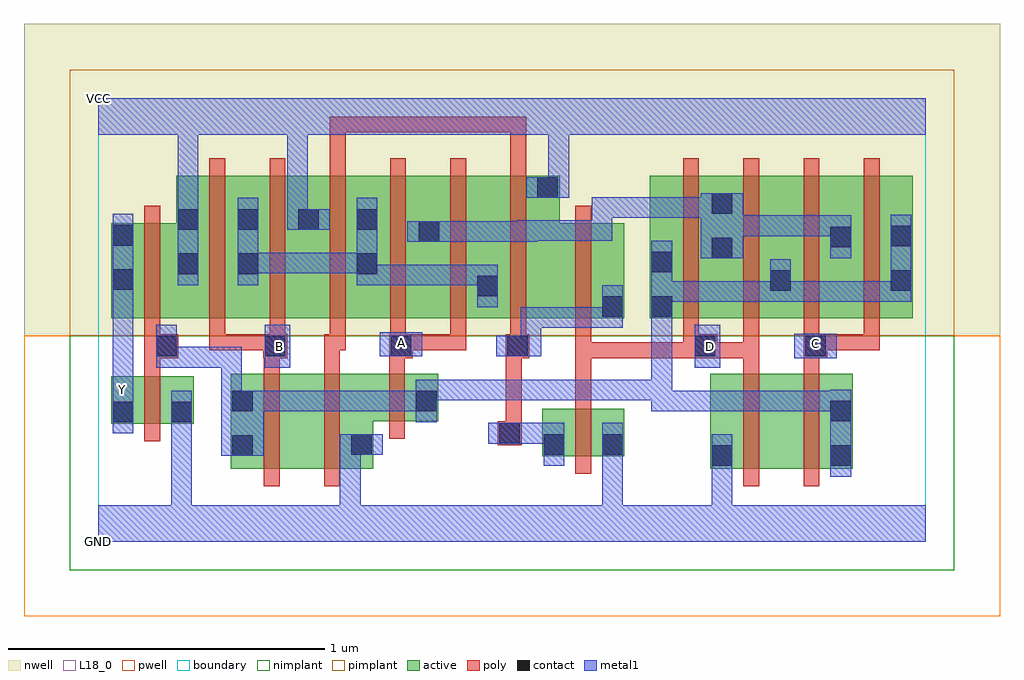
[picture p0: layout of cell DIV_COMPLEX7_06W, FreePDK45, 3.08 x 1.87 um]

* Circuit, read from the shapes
.subckt DIV_COMPLEX7_06W A B C D GND VCC Y
M1 GND n1 Y VSUBS nfet w=0.15u l=0.05u
M2 n2 B n1 VSUBS nfet w=0.3u l=0.05u
M3 GND n3 n2 VSUBS nfet w=0.3u l=0.05u
M4 n1 A GND VSUBS nfet w=0.15u l=0.05u
M5 GND D n3 VSUBS nfet w=0.15u l=0.05u
M6 n4 D GND VSUBS nfet w=0.3u l=0.05u
M7 n1 C n4 VSUBS nfet w=0.3u l=0.05u
M8 VCC n1 Y n5 pfet w=0.3u l=0.05u
M9 n6 B VCC n5 pfet w=0.45u l=0.05u m=2
M10 n6 n3 VCC n5 pfet w=0.45u l=0.05u m=2
M11 n7 A n6 n5 pfet w=0.45u l=0.05u m=2
M12 n3 D VCC n5 pfet w=0.3u l=0.05u
M13 n7 D n1 n5 pfet w=0.45u l=0.05u m=2
M14 n7 C n1 n5 pfet w=0.45u l=0.05u m=2
.ends

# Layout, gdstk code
import gdstk
lib = gdstk.Library(unit=1e-6, precision=1e-09)
def R(c, l, rs):  # rectangles x0, y0, x1, y1
    for r in rs: c.add(gdstk.rectangle(r[:2], r[2:], *l))
def A(c, l, x, y, w, h, nx, ny, dx, dy):  # array of equal rectangles
    R(c, l, [(x+i*dx, y+j*dy, x+i*dx+w, y+j*dy+h) for i in range(nx) for j in range(ny)])
active = (1, 0)
pwell = (2, 0)
nwell = (3, 0)
nimplant = (4, 0)
pimplant = (5, 0)
poly = (9, 0)
contact = (10, 0)
metal1 = (11, 0)
L18_0 = (18, 0)
boundary = (235, 0)

div_complex7_06w = lib.new_cell('DIV_COMPLEX7_06W')
R(div_complex7_06w, active, [(0.417,0.23,0.642,0.53), (0.417,0.23,0.492,0.53), (0.642,0.23,0.867,0.53), (1.93,0.23,2.155,0.53), (2.155,0.23,2.38,0.53), (1.93,0.235,2.005,0.53), (2.305,0.235,2.38,0.53), (0.792,0.27,0.867,0.38), (1.4,0.27,1.475,0.42), (1.4,0.27,1.66,0.42), (1.585,0.27,1.66,0.42), (0.04,0.372,0.115,0.522), (0.04,0.372,0.3,0.522), (0.225,0.372,0.3,0.522), (0.792,0.38,1.072,0.53), (0.997,0.38,1.072,0.53), (0.04,0.705,0.115,1.005), (0.04,0.705,0.32,1.005), (0.245,0.705,0.51,1.155), (0.245,0.705,0.32,1.055), (0.435,0.705,0.51,1.155), (0.435,0.705,0.7,1.155), (0.625,0.705,0.7,1.155), (0.625,0.705,0.885,1.155), (0.81,0.705,0.885,1.155), (0.81,0.705,1.08,1.155), (1.005,0.705,1.08,1.155), (1.005,0.705,1.265,1.155), (1.19,0.705,1.455,1.155), (1.19,0.705,1.265,1.07), (1.38,0.705,1.66,1.005), (1.585,0.705,1.66,1.005), (1.74,0.705,2.005,1.155), (1.74,0.705,1.815,1.07), (1.93,0.705,2.005,1.155), (1.93,0.705,2.19,1.155), (2.115,0.705,2.38,1.155), (2.115,0.705,2.19,1.07), (2.305,0.705,2.38,1.155), (2.305,0.705,2.57,1.155), (2.495,0.705,2.57,1.155), (1.38,0.882,1.455,1.155)])
R(div_complex7_06w, pwell, [(-0.235,-0.235,2.845,0.65)])
R(div_complex7_06w, nwell, [(-0.235,0.65,2.845,1.635)])
R(div_complex7_06w, nimplant, [(-0.09,-0.09,2.7,0.65)])
R(div_complex7_06w, pimplant, [(-0.09,0.65,2.7,1.49)])
A(div_complex7_06w, poly, 0.35, 0.605, 0.05, 0.095, 6, 1, 0.19, 0)
A(div_complex7_06w, poly, 0.35, 0.65, 0.05, 0.56, 6, 1, 0.19, 0)
A(div_complex7_06w, poly, 1.845, 0.65, 0.05, 0.56, 4, 1, 0.19, 0)
R(div_complex7_06w, poly, [(0.522,0.175,0.572,0.585), (0.712,0.175,0.762,0.585), (2.035,0.175,2.085,0.585), (2.225,0.175,2.275,0.585), (1.505,0.215,1.555,0.475), (1.26,0.305,1.335,0.38), (0.145,0.317,0.195,0.577), (0.917,0.325,0.967,0.585), (1.285,0.33,1.335,0.38), (1.285,0.33,1.335,0.38), (1.285,0.33,1.335,0.63), (1.505,0.425,1.555,0.63), (0.145,0.527,0.195,0.63), (0.522,0.535,0.572,0.63), (0.712,0.535,0.762,0.655), (0.917,0.535,0.967,0.63), (2.035,0.535,2.085,0.63), (2.225,0.535,2.275,0.63), (0.145,0.58,0.252,0.655), (0.52,0.58,0.595,0.655), (0.917,0.58,0.992,0.655), (1.285,0.58,1.36,0.655), (1.505,0.58,1.555,0.63), (1.505,0.58,1.555,0.63), (1.505,0.58,1.555,0.63), (1.505,0.58,1.555,0.7), (1.505,0.58,1.895,0.63), (1.845,0.58,1.895,0.63), (1.845,0.58,1.895,0.63), (1.845,0.58,1.952,0.655), (1.902,0.58,2.085,0.63), (2.035,0.58,2.085,0.63), (2.035,0.58,2.085,0.63), (2.035,0.58,2.085,0.63), (2.035,0.58,2.085,0.7), (2.225,0.58,2.3,0.655), (0.145,0.605,0.195,0.7), (0.35,0.605,0.4,0.655), (0.35,0.605,0.4,0.655), (0.35,0.605,0.4,0.655), (0.35,0.605,0.57,0.655), (0.712,0.605,0.78,0.655), (0.942,0.605,0.992,0.655), (0.942,0.605,0.992,0.655), (0.942,0.605,1.16,0.655), (1.11,0.605,1.16,0.655), (1.845,0.605,1.895,0.7), (2.225,0.605,2.275,0.7), (2.25,0.605,2.465,0.655), (2.415,0.605,2.465,0.7), (2.415,0.605,2.465,0.655), (2.415,0.605,2.465,0.655), (2.415,0.605,2.465,0.655), (0.145,0.65,0.195,1.06), (1.505,0.65,1.555,1.06), (0.73,1.16,0.78,1.342), (1.3,1.16,1.35,1.342), (0.73,1.292,0.78,1.342), (0.73,1.292,0.78,1.342), (0.73,1.292,0.78,1.342), (0.73,1.292,0.912,1.342), (0.862,1.292,0.912,1.342), (0.862,1.292,0.912,1.342), (0.862,1.292,0.912,1.342), (0.862,1.292,1.125,1.342), (1.075,1.292,1.125,1.342), (1.075,1.292,1.35,1.342), (1.3,1.292,1.35,1.342), (1.3,1.292,1.35,1.342), (1.3,1.292,1.35,1.342)])
A(div_complex7_06w, contact, 0.25, 0.985, 0.065, 0.065, 3, 1, 0.19, 0)
R(div_complex7_06w, contact, [(1.935,0.24,2,0.305), (2.31,0.24,2.375,0.305), (0.422,0.272,0.487,0.337), (0.797,0.275,0.862,0.34), (1.405,0.275,1.47,0.34), (1.59,0.275,1.655,0.34), (1.265,0.31,1.33,0.375), (0.045,0.377,0.11,0.442), (0.23,0.377,0.295,0.442), (2.31,0.38,2.375,0.445), (0.422,0.412,0.487,0.477), (1.002,0.412,1.067,0.477), (0.182,0.585,0.247,0.65), (0.525,0.585,0.59,0.65), (0.922,0.585,0.987,0.65), (1.29,0.585,1.355,0.65), (1.882,0.585,1.947,0.65), (2.23,0.585,2.295,0.65), (1.59,0.71,1.655,0.775), (1.745,0.71,1.81,0.775), (1.195,0.775,1.26,0.84), (2.12,0.792,2.185,0.857), (2.5,0.792,2.565,0.857), (0.045,0.795,0.11,0.86), (0.25,0.845,0.315,0.91), (0.44,0.845,0.505,0.91), (0.815,0.845,0.88,0.91), (1.745,0.85,1.81,0.915), (1.935,0.895,2,0.96), (2.31,0.93,2.375,0.995), (2.5,0.932,2.565,0.997), (0.045,0.935,0.11,1), (1.01,0.947,1.075,1.012), (0.815,0.985,0.88,1.05), (1.935,1.035,2,1.1), (1.385,1.085,1.45,1.15)])
R(div_complex7_06w, metal1, [(0,0,2.61,0.115), (0.23,0.05,0.295,0.115), (0.23,0.05,0.295,0.115), (0.23,0.05,0.295,0.407), (0.762,0.05,0.827,0.34), (1.59,0.05,1.655,0.115), (1.59,0.05,1.655,0.115), (1.59,0.05,1.655,0.115), (1.59,0.05,1.655,0.115), (1.59,0.05,1.655,0.305), (1.935,0.05,2,0.115), (1.935,0.05,2,0.115), (1.935,0.05,2,0.27), (1.935,0.205,2,0.27), (1.935,0.205,2,0.27), (1.935,0.205,2,0.34), (2.31,0.205,2.375,0.48), (1.405,0.24,1.47,0.375), (1.59,0.24,1.655,0.305), (1.59,0.24,1.655,0.305), (1.59,0.24,1.655,0.375), (0.387,0.272,0.522,0.477), (0.762,0.275,0.827,0.34), (0.762,0.275,0.827,0.34), (0.762,0.275,0.827,0.34), (0.762,0.275,0.827,0.34), (0.762,0.275,0.897,0.34), (1.23,0.31,1.365,0.375), (1.3,0.31,1.47,0.375), (0.045,0.342,0.11,0.477), (0.23,0.342,0.295,0.407), (0.23,0.342,0.295,0.407), (0.23,0.342,0.295,0.407), (0.23,0.342,0.295,0.407), (0.23,0.342,0.295,0.477), (1.002,0.377,1.067,0.512), (0.045,0.412,0.11,0.477), (0.045,0.412,0.11,0.547), (0.387,0.412,0.452,0.615), (0.457,0.412,0.522,0.477), (0.457,0.412,0.522,0.477), (0.457,0.412,0.69,0.477), (0.625,0.412,0.69,0.477), (0.625,0.412,0.69,0.477), (0.625,0.412,0.69,0.477), (0.625,0.412,0.902,0.477), (0.837,0.412,0.902,0.477), (0.837,0.412,0.902,0.477), (0.837,0.412,0.902,0.477), (0.837,0.412,1.067,0.477), (1.745,0.412,1.81,0.477), (1.745,0.412,1.81,0.477), (1.745,0.412,1.947,0.477), (1.745,0.412,1.81,0.512), (1.882,0.412,1.947,0.477), (1.882,0.412,1.947,0.477), (1.882,0.412,1.947,0.477), (1.882,0.412,2.237,0.477), (2.172,0.412,2.237,0.477), (2.172,0.412,2.375,0.477), (2.31,0.412,2.375,0.477), (2.31,0.412,2.375,0.477), (1.002,0.447,1.067,0.512), (1.002,0.447,1.067,0.512), (1.002,0.447,1.247,0.512), (1.182,0.447,1.247,0.512), (1.182,0.447,1.247,0.512), (1.182,0.447,1.247,0.512), (1.182,0.447,1.485,0.512), (1.42,0.447,1.485,0.512), (1.42,0.447,1.625,0.512), (1.56,0.447,1.625,0.512), (1.56,0.447,1.625,0.512), (1.56,0.447,1.625,0.512), (1.56,0.447,1.81,0.512), (1.745,0.447,1.81,0.512), (1.745,0.447,1.81,0.512), (1.745,0.447,1.81,0.74), (0.045,0.482,0.11,0.825), (0.182,0.55,0.247,0.615), (0.182,0.55,0.247,0.615), (0.182,0.55,0.385,0.615), (0.182,0.55,0.247,0.685), (0.32,0.55,0.385,0.615), (0.32,0.55,0.452,0.615), (0.387,0.55,0.452,0.615), (0.525,0.55,0.605,0.685), (1.882,0.55,1.962,0.685), (2.195,0.58,2.33,0.657), (0.887,0.585,1.022,0.662), (1.255,0.585,1.39,0.65), (1.325,0.585,1.397,0.65), (1.332,0.585,1.397,0.65), (1.332,0.585,1.397,0.74), (1.332,0.675,1.397,0.74), (1.332,0.675,1.655,0.74), (1.59,0.675,1.655,0.74), (1.59,0.675,1.655,0.74), (1.59,0.675,1.655,0.81), (1.745,0.675,1.81,0.95), (1.195,0.74,1.26,0.875), (1.745,0.757,1.81,0.822), (1.745,0.757,1.81,0.822), (1.745,0.757,1.947,0.822), (1.882,0.757,1.947,0.822), (1.882,0.757,1.947,0.822), (1.882,0.757,1.947,0.822), (1.882,0.757,2.185,0.822), (2.12,0.757,2.185,0.892), (2.12,0.757,2.427,0.822), (2.362,0.757,2.427,0.822), (2.362,0.757,2.427,0.822), (2.362,0.757,2.427,0.822), (2.362,0.757,2.565,0.822), (2.5,0.757,2.565,0.822), (2.5,0.757,2.565,0.822), (2.5,0.757,2.565,1.032), (0.045,0.76,0.11,1.035), (0.25,0.81,0.315,1.085), (0.44,0.81,0.505,1.085), (0.815,0.81,0.88,0.875), (0.815,0.81,0.88,0.875), (0.815,0.81,0.88,1.085), (0.815,0.81,1.11,0.875), (1.045,0.81,1.11,0.875), (1.045,0.81,1.11,0.875), (1.045,0.81,1.11,0.875), (1.045,0.81,1.26,0.875), (0.44,0.847,0.522,0.912), (0.457,0.847,0.522,0.912), (0.457,0.847,0.69,0.912), (0.625,0.847,0.69,0.912), (0.625,0.847,0.69,0.912), (0.625,0.847,0.69,0.912), (0.625,0.847,0.88,0.912), (1.9,0.895,2.035,1.1), (2.31,0.895,2.375,1.03), (0.975,0.947,1.11,1.012), (1.045,0.947,1.11,1.012), (1.045,0.947,1.11,1.012), (1.045,0.947,1.247,1.012), (1.182,0.947,1.247,1.012), (1.182,0.947,1.385,1.012), (1.32,0.947,1.385,1.012), (1.32,0.947,1.385,1.012), (1.32,0.947,1.385,1.015), (1.32,0.95,1.622,1.015), (1.557,0.95,1.622,1.015), (1.557,0.95,1.622,1.015), (1.557,0.95,1.622,1.087), (1.97,0.965,2.035,1.03), (1.97,0.965,2.035,1.03), (1.97,0.965,2.172,1.03), (2.107,0.965,2.172,1.03), (2.107,0.965,2.375,1.03), (2.31,0.965,2.375,1.03), (2.31,0.965,2.375,1.03), (0.595,0.985,0.73,1.05), (0.595,0.985,0.66,1.35), (0.25,1.02,0.315,1.35), (1.557,1.022,1.81,1.087), (1.745,1.022,1.81,1.087), (1.745,1.022,1.81,1.087), (1.745,1.022,1.81,1.087), (1.745,1.022,1.965,1.087), (1.35,1.085,1.485,1.15), (1.42,1.085,1.485,1.35), (0,1.285,2.61,1.4), (0.25,1.285,0.315,1.35), (0.25,1.285,0.315,1.35), (0.595,1.285,0.66,1.35), (0.595,1.285,0.66,1.35), (1.42,1.285,1.485,1.35), (1.42,1.285,1.485,1.35)])
R(div_complex7_06w, L18_0, [(0,0,2.61,0.115), (0.23,0.05,0.295,0.115), (0.23,0.05,0.295,0.115), (0.23,0.05,0.295,0.407), (0.762,0.05,0.827,0.34), (1.59,0.05,1.655,0.115), (1.59,0.05,1.655,0.115), (1.59,0.05,1.655,0.115), (1.59,0.05,1.655,0.115), (1.59,0.05,1.655,0.305), (1.935,0.05,2,0.115), (1.935,0.05,2,0.115), (1.935,0.05,2,0.27), (1.935,0.205,2,0.34), (1.935,0.205,2,0.27), (1.935,0.205,2,0.27), (1.59,0.24,1.655,0.375), (1.59,0.24,1.655,0.305), (1.59,0.24,1.655,0.305), (0.762,0.275,0.827,0.34), (0.762,0.275,0.827,0.34), (0.762,0.275,0.827,0.34), (0.762,0.275,0.827,0.34), (0.762,0.275,0.897,0.34), (0.045,0.342,0.11,0.477), (0.23,0.342,0.295,0.477), (0.23,0.342,0.295,0.407), (0.23,0.342,0.295,0.407), (0.23,0.342,0.295,0.407), (0.23,0.342,0.295,0.407), (0.045,0.412,0.11,0.547), (0.045,0.412,0.11,0.477), (0.045,0.447,0.11,0.512), (0.045,0.482,0.11,0.825), (0.525,0.55,0.605,0.685), (1.882,0.55,1.962,0.685), (2.195,0.58,2.33,0.657), (0.54,0.585,0.605,0.65), (0.887,0.585,1.022,0.662), (1.897,0.585,1.962,0.65), (2.23,0.592,2.295,0.657), (0.922,0.597,0.987,0.662), (0.045,0.76,0.11,1.035), (0.25,0.81,0.315,1.085), (0.595,0.985,0.73,1.05), (0.595,0.985,0.66,1.35), (0.25,1.02,0.315,1.35), (1.35,1.085,1.485,1.15), (1.42,1.085,1.485,1.35), (0,1.285,2.61,1.4), (0.25,1.285,0.315,1.35), (0.25,1.285,0.315,1.35), (0.595,1.285,0.66,1.35), (0.595,1.285,0.66,1.35), (1.42,1.285,1.485,1.35), (1.42,1.285,1.485,1.35)])
R(div_complex7_06w, boundary, [(0,0,2.61,1.4)])
div_complex7_06w.add(gdstk.Label('A', (0.955,0.63), layer=11, texttype=0))
div_complex7_06w.add(gdstk.Label('B', (0.572,0.617), layer=11, texttype=0))
div_complex7_06w.add(gdstk.Label('C', (2.262,0.625), layer=11, texttype=0))
div_complex7_06w.add(gdstk.Label('D', (1.93,0.617), layer=11, texttype=0))
div_complex7_06w.add(gdstk.Label('Y', (0.077,0.48), layer=11, texttype=0))
div_complex7_06w.add(gdstk.Label('VCC', (0,1.4), layer=11, texttype=0))
div_complex7_06w.add(gdstk.Label('GND', (0,0), layer=11, texttype=0))

lib.write_gds('DIV_COMPLEX7_06W.gds')
